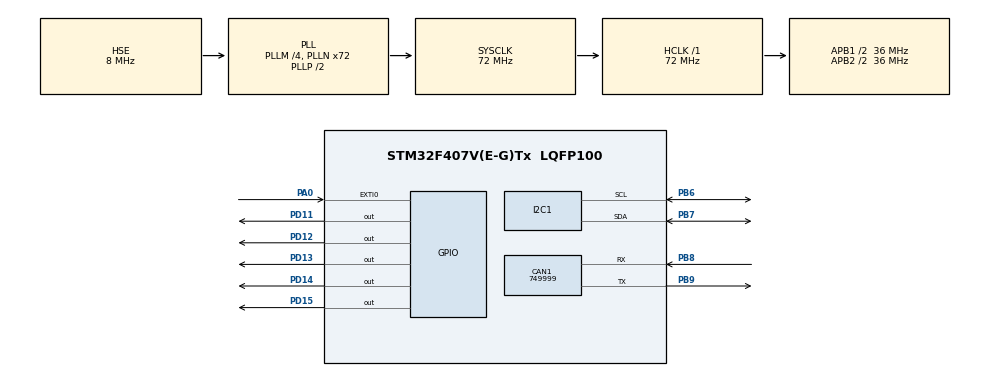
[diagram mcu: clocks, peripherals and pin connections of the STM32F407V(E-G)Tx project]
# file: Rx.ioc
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CAN1.CalculateBaudRate=749999
CAN1.CalculateTimeBit=1333
CAN1.CalculateTimeQuantum=444.44444444444446
Mcu.Family=STM32F4
Mcu.Name=STM32F407V(E-G)Tx
Mcu.Package=LQFP100
NVIC.CAN1_RX0_IRQn=true\:0\:0\:false\:false\:true\:true\:true\:true
NVIC.EXTI0_IRQn=true\:0\:0\:false\:false\:true\:true\:true\:true
NVIC.PriorityGroup=NVIC_PRIORITYGROUP_0
PA0-WKUP.Signal=GPXTI0
PA13.Mode=Serial_Wire
PA13.Signal=SYS_JTMS-SWDIO
PA14.Mode=Serial_Wire
PA14.Signal=SYS_JTCK-SWCLK
PB6.Mode=I2C
PB6.Signal=I2C1_SCL
PB7.Mode=I2C
PB7.Signal=I2C1_SDA
PB8.Mode=CAN_Activate
PB8.Signal=CAN1_RX
PB9.Mode=CAN_Activate
PB9.Signal=CAN1_TX
PD11.Signal=GPIO_Output
PD12.Signal=GPIO_Output
PD13.Signal=GPIO_Output
PD14.Signal=GPIO_Output
PD15.Signal=GPIO_Output
PH0-OSC_IN.Mode=HSE-External-Oscillator
PH0-OSC_IN.Signal=RCC_OSC_IN
PH1-OSC_OUT.Mode=HSE-External-Oscillator
PH1-OSC_OUT.Signal=RCC_OSC_OUT
ProjectManager.HeapSize=0x200
ProjectManager.StackSize=0x400
ProjectManager.TargetToolchain=STM32CubeIDE
RCC.48MHZClocksFreq_Value=20571428.57142857
RCC.AHBFreq_Value=72000000
RCC.APB1CLKDivider=RCC_HCLK_DIV2
RCC.APB1Freq_Value=36000000
RCC.APB1TimFreq_Value=72000000
RCC.APB2CLKDivider=RCC_HCLK_DIV2
RCC.APB2Freq_Value=36000000
RCC.APB2TimFreq_Value=72000000
RCC.CortexFreq_Value=72000000
RCC.HCLKFreq_Value=72000000
RCC.HSE_VALUE=8000000
RCC.HSI_VALUE=16000000
RCC.LSE_VALUE=32768
RCC.PLLM=4
RCC.PLLN=72
RCC.PLLQ=7
RCC.PLLSourceVirtual=RCC_PLLSOURCE_HSE
RCC.SYSCLKFreq_VALUE=72000000
RCC.SYSCLKSource=RCC_SYSCLKSOURCE_PLLCLK
RCC.VCOOutputFreq_Value=144000000
board=STM32F407G-DISC1

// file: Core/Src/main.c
/* USER CODE BEGIN Header */
/**
  ******************************************************************************
  * @file           : main.c
  * @brief          : Main program body
  ******************************************************************************
  * @attention
  *
  * Copyright (c) 2023 STMicroelectronics.
  * All rights reserved.
  *
  * This software is licensed under terms that can be found in the LICENSE file
  * in the root directory of this software component.
  * If no LICENSE file comes with this software, it is provided AS-IS.
  *
  ******************************************************************************
  */
/* USER CODE END Header */
#include "main.h"

/* USER CODE BEGIN Includes */
#include<stdio.h>
#include"lcd16x2_i2c.h"
/* USER CODE END Includes */

CAN_HandleTypeDef hcan1;

I2C_HandleTypeDef hi2c1;

void SystemClock_Config(void);
static void MX_GPIO_Init(void);
static void MX_I2C1_Init(void);
static void MX_CAN1_Init(void);

/* USER CODE BEGIN 0 */
uint8_t flag=0;
CAN_RxHeaderTypeDef RxHeader;
uint8_t RxData[5];

void HAL_CAN_RxFifo0MsgPendingCallback(CAN_HandleTypeDef *hcan){
	flag=1;
	HAL_GPIO_WritePin(GPIOD, GPIO_PIN_15, GPIO_PIN_SET); // blue
	HAL_CAN_GetRxMessage(&hcan1, CAN_RX_FIFO0, &RxHeader, RxData);
}
/* USER CODE END 0 */

int main(void)
{

  /* MCU Configuration--------------------------------------------------------*/

  /* Reset of all peripherals, Initializes the Flash interface and the Systick. */
  HAL_Init();

  /* Configure the system clock */
  SystemClock_Config();

  /* Initialize all configured peripherals */
  MX_GPIO_Init();
  MX_I2C1_Init();
  MX_CAN1_Init();
  /* USER CODE BEGIN 2 */

  if(lcd16x2_i2c_init(&hi2c1))
  {
	  HAL_GPIO_WritePin(GPIOD, GPIO_PIN_12, SET);
  }

  HAL_CAN_Start(&hcan1);
  HAL_CAN_ActivateNotification(&hcan1, CAN_IT_RX_FIFO0_MSG_PENDING);

  RxHeader.DLC=4;
  RxHeader.RTR=CAN_RTR_DATA;
  RxHeader.IDE=CAN_ID_STD;
  RxHeader.ExtId=0x0;
  RxHeader.StdId=0x0AA;

  HAL_Delay(100);
  HAL_Delay(100);

  lcd16x2_i2c_1stLine();
  lcd16x2_i2c_printf("Welcome...!!!");
  /* USER CODE END 2 */

  /* Infinite loop */
  /* USER CODE BEGIN WHILE */
  while (1)
  {
	  		if(flag == 1){
	  			HAL_GPIO_WritePin(GPIOD, GPIO_PIN_14, GPIO_PIN_SET); //
	  			lcd16x2_i2c_2ndLine();
	  			lcd16x2_i2c_printf("Distance=%-3d", RxData[0]);
	  			HAL_Delay(500);
	  			lcd16x2_i2c_clear();
	  		}
			if(RxData[0] <= 20)
			{
				HAL_GPIO_WritePin(GPIOD, GPIO_PIN_11, GPIO_PIN_SET);
				lcd16x2_i2c_1stLine();
				lcd16x2_i2c_printf("Object Detected...");
			}
			else
			{
				HAL_GPIO_WritePin(GPIOD, GPIO_PIN_11, GPIO_PIN_RESET);
				lcd16x2_i2c_1stLine();
				lcd16x2_i2c_printf("Obj Not Detected...");
			}
    /* USER CODE END WHILE */

  }
}

void SystemClock_Config(void)
{
  RCC_OscInitTypeDef RCC_OscInitStruct = {0};
  RCC_ClkInitTypeDef RCC_ClkInitStruct = {0};

  /** Configure the main internal regulator output voltage
  */
  __HAL_RCC_PWR_CLK_ENABLE();
  __HAL_PWR_VOLTAGESCALING_CONFIG(PWR_REGULATOR_VOLTAGE_SCALE1);

  /** Initializes the RCC Oscillators according to the specified parameters
  * in the RCC_OscInitTypeDef structure.
  */
  RCC_OscInitStruct.OscillatorType = RCC_OSCILLATORTYPE_HSE;
  RCC_OscInitStruct.HSEState = RCC_HSE_ON;
  RCC_OscInitStruct.PLL.PLLState = RCC_PLL_ON;
  RCC_OscInitStruct.PLL.PLLSource = RCC_PLLSOURCE_HSE;
  RCC_OscInitStruct.PLL.PLLM = 4;
  RCC_OscInitStruct.PLL.PLLN = 72;
  RCC_OscInitStruct.PLL.PLLP = RCC_PLLP_DIV2;
  RCC_OscInitStruct.PLL.PLLQ = 7;
  if (HAL_RCC_OscConfig(&RCC_OscInitStruct) != HAL_OK)
  {
    Error_Handler();
  }

  /** Initializes the CPU, AHB and APB buses clocks
  */
  RCC_ClkInitStruct.ClockType = RCC_CLOCKTYPE_HCLK|RCC_CLOCKTYPE_SYSCLK
                              |RCC_CLOCKTYPE_PCLK1|RCC_CLOCKTYPE_PCLK2;
  RCC_ClkInitStruct.SYSCLKSource = RCC_SYSCLKSOURCE_PLLCLK;
  RCC_ClkInitStruct.AHBCLKDivider = RCC_SYSCLK_DIV1;
  RCC_ClkInitStruct.APB1CLKDivider = RCC_HCLK_DIV2;
  RCC_ClkInitStruct.APB2CLKDivider = RCC_HCLK_DIV2;

  if (HAL_RCC_ClockConfig(&RCC_ClkInitStruct, FLASH_LATENCY_2) != HAL_OK)
  {
    Error_Handler();
  }
}

static void MX_CAN1_Init(void)
{

  hcan1.Instance = CAN1;
  hcan1.Init.Prescaler = 16;
  hcan1.Init.Mode = CAN_MODE_NORMAL;
  hcan1.Init.SyncJumpWidth = CAN_SJW_1TQ;
  hcan1.Init.TimeSeg1 = CAN_BS1_1TQ;
  hcan1.Init.TimeSeg2 = CAN_BS2_1TQ;
  hcan1.Init.TimeTriggeredMode = DISABLE;
  hcan1.Init.AutoBusOff = DISABLE;
  hcan1.Init.AutoWakeUp = DISABLE;
  hcan1.Init.AutoRetransmission = DISABLE;
  hcan1.Init.ReceiveFifoLocked = DISABLE;
  hcan1.Init.TransmitFifoPriority = DISABLE;
  if (HAL_CAN_Init(&hcan1) != HAL_OK)
  {
    Error_Handler();
  }
  /* USER CODE BEGIN CAN1_Init 2 */
  CAN_FilterTypeDef canFilterConfig;
  canFilterConfig.FilterActivation=CAN_FILTER_ENABLE;
  canFilterConfig.SlaveStartFilterBank=14;
  canFilterConfig.FilterBank=2;
  canFilterConfig.FilterFIFOAssignment=CAN_RX_FIFO0;
  canFilterConfig.FilterScale=CAN_FILTERSCALE_32BIT;
  canFilterConfig.FilterMode=CAN_FILTERMODE_IDMASK;
  canFilterConfig.FilterMaskIdLow=0x0000;
  canFilterConfig.FilterMaskIdHigh=0xFF00;
  canFilterConfig.FilterIdLow=0x0000;
  canFilterConfig.FilterIdHigh=0x1500;
  HAL_CAN_ConfigFilter(&hcan1, &canFilterConfig);
  /* USER CODE END CAN1_Init 2 */

}

static void MX_I2C1_Init(void)
{

  hi2c1.Instance = I2C1;
  hi2c1.Init.ClockSpeed = 100000;
  hi2c1.Init.DutyCycle = I2C_DUTYCYCLE_2;
  hi2c1.Init.OwnAddress1 = 0;
  hi2c1.Init.AddressingMode = I2C_ADDRESSINGMODE_7BIT;
  hi2c1.Init.DualAddressMode = I2C_DUALADDRESS_DISABLE;
  hi2c1.Init.OwnAddress2 = 0;
  hi2c1.Init.GeneralCallMode = I2C_GENERALCALL_DISABLE;
  hi2c1.Init.NoStretchMode = I2C_NOSTRETCH_DISABLE;
  if (HAL_I2C_Init(&hi2c1) != HAL_OK)
  {
    Error_Handler();
  }

}

static void MX_GPIO_Init(void)
{
  GPIO_InitTypeDef GPIO_InitStruct = {0};

  /* GPIO Ports Clock Enable */
  __HAL_RCC_GPIOH_CLK_ENABLE();
  __HAL_RCC_GPIOA_CLK_ENABLE();
  __HAL_RCC_GPIOD_CLK_ENABLE();
  __HAL_RCC_GPIOB_CLK_ENABLE();

  /*Configure GPIO pin Output Level */
  HAL_GPIO_WritePin(GPIOD, GPIO_PIN_11|GPIO_PIN_12|GPIO_PIN_13|GPIO_PIN_14
                          |GPIO_PIN_15, GPIO_PIN_RESET);

  /*Configure GPIO pin : PA0 */
  GPIO_InitStruct.Pin = GPIO_PIN_0;
  GPIO_InitStruct.Mode = GPIO_MODE_IT_RISING;
  GPIO_InitStruct.Pull = GPIO_NOPULL;
  HAL_GPIO_Init(GPIOA, &GPIO_InitStruct);

  /*Configure GPIO pins : PD11 PD12 PD13 PD14
                           PD15 */
  GPIO_InitStruct.Pin = GPIO_PIN_11|GPIO_PIN_12|GPIO_PIN_13|GPIO_PIN_14
                          |GPIO_PIN_15;
  GPIO_InitStruct.Mode = GPIO_MODE_OUTPUT_PP;
  GPIO_InitStruct.Pull = GPIO_NOPULL;
  GPIO_InitStruct.Speed = GPIO_SPEED_FREQ_LOW;
  HAL_GPIO_Init(GPIOD, &GPIO_InitStruct);

  /* EXTI interrupt init*/
  HAL_NVIC_SetPriority(EXTI0_IRQn, 0, 0);
  HAL_NVIC_EnableIRQ(EXTI0_IRQn);

}

void Error_Handler(void)
{
  __disable_irq();
  while (1)
  {
  }
}
